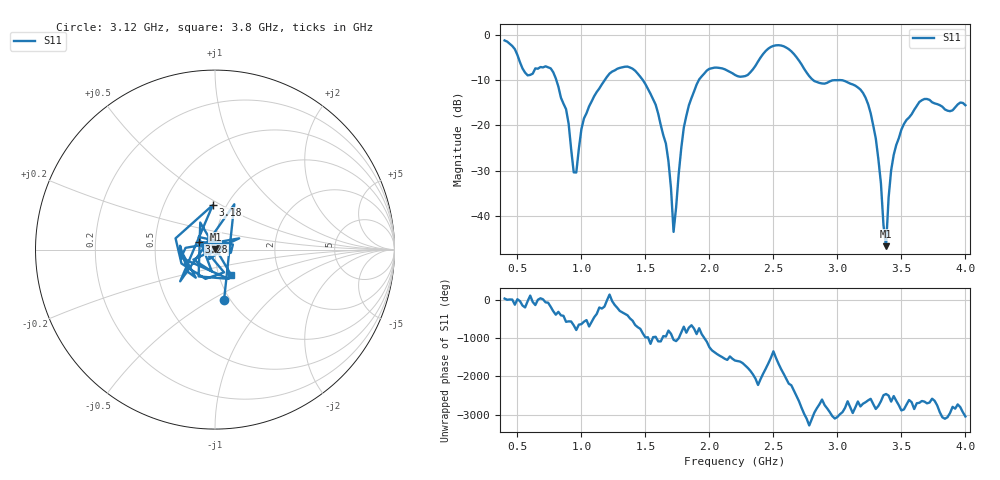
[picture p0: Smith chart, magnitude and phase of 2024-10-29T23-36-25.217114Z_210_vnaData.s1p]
!Created with skrf (http://scikit-rf.org).
# Hz S RI R 50.0
!freq ReS11 ImS11
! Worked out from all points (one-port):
!   181 points, 400 MHz to 4 GHz, reference 50 ohm
!   lowest |S11| = -46.6 dB at 3.38 GHz (marker M1), VSWR 1.01, Z = 50.2 + j0.395 ohm
!   |S11| at or under -10 dB: 804.1 MHz to 1.182 GHz (378.2 MHz wide, 38.1 % of centre); 1.48 GHz to 1.917 GHz (437.2 MHz wide, 25.7 % of centre); 3.024 GHz to end of sweep (the widest 3 of 4)
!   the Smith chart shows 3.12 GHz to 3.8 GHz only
!   S11 on the Smith chart (normalised r, x): 3.12 GHz: 0.94, -0.57; 3.18 GHz: 0.86, +0.46; 3.28 GHz: 0.83, +0.07; 3.8 GHz: 1.15, -0.33
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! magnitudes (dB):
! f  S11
! 400 MHz  -1.3
! 580 MHz  -9.0
! 760 MHz  -7.4
! 860 MHz  -15.2
! 960 MHz  -30.4
! 1.02 GHz  -18.5
! 1.3 GHz  -7.3
! 1.58 GHz  -15.4
! 1.68 GHz  -27.9
! 1.72 GHz  -43.5
! 1.76 GHz  -30.7
! 1.82 GHz  -17.9
! 1.92 GHz  -9.8
! 2.2 GHz  -8.9
! 2.5 GHz  -2.5
! 2.66 GHz  -4.2
! 2.82 GHz  -10.2
! 3.1 GHz  -10.8
! 3.12 GHz  -11.0
! 3.18 GHz  -12.1
! 3.28 GHz  -20.0
! 3.34 GHz  -32.7
! 3.38 GHz  -46.6
! 3.4 GHz  -36.0
! 3.44 GHz  -26.5
! 3.56 GHz  -18.3
! 3.8 GHz  -15.5
! 4 GHz  -15.5
